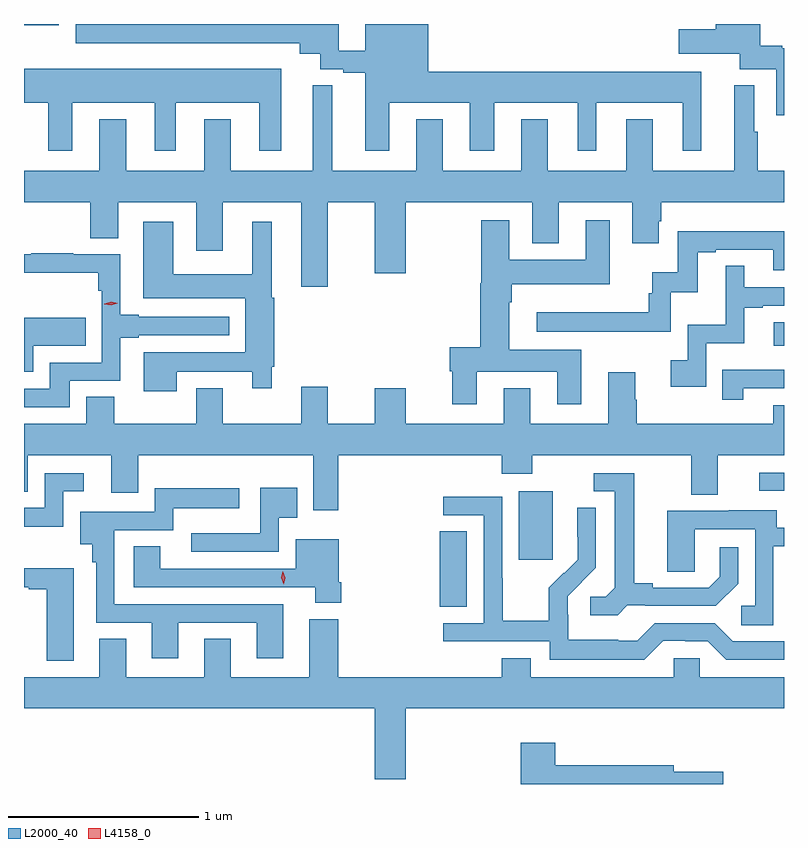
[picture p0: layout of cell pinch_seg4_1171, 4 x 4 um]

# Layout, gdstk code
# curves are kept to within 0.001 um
import gdstk
lib = gdstk.Library(unit=1e-6, precision=1e-09)
def R(c, l, rs):  # rectangles x0, y0, x1, y1
    for r in rs: c.add(gdstk.rectangle(r[:2], r[2:], *l))
def P(c, l, *ps):  # polygons
    for p in ps: c.add(gdstk.Polygon(p, *l))
L2000_40 = (2000, 40)
L4158_0 = (4158, 0)

pinch_seg4_1171 = lib.new_cell('pinch_seg4_1171')
R(pinch_seg4_1171, L2000_40, [(536.978,786.697,537.121,787.094), (537.395,786.945,537.574,787.306), (538.659,787.308,538.79,787.404), (538.737,788.072,538.79,788.194), (534.79,789.758,534.973,789.765)])
P(pinch_seg4_1171, L2000_40, [(538.79,789.637),(538.782,789.637),(538.782,789.65),(538.666,789.65),(538.666,789.765),(538.43,789.765),(538.43,789.737),(538.236,789.737),(538.236,789.608),(538.556,789.608),(538.556,789.527),(538.748,789.527),(538.748,789.285),(538.79,789.285)],
  [(536.713,789.35),(537.137,789.35),(537.137,789.099),(537.265,789.099),(537.265,789.35),(537.704,789.35),(537.704,789.099),(537.802,789.099),(537.802,789.35),(538.256,789.35),(538.256,789.099),(538.354,789.099),(538.354,789.514),(536.917,789.514),(536.917,789.765),(536.585,789.765),(536.585,789.625),(536.446,789.625),(536.446,789.765),(535.062,789.765),(535.062,789.665),(536.24,789.665),(536.24,789.608),(536.348,789.608),(536.348,789.528),(536.471,789.528),(536.471,789.508),(536.585,789.508),(536.585,789.099),(536.713,789.099)],
  [(535.045,789.35),(535.478,789.35),(535.478,789.099),(535.588,789.099),(535.588,789.35),(536.027,789.35),(536.027,789.099),(536.143,789.099),(536.143,789.529),(534.79,789.529),(534.79,789.35),(534.917,789.35),(534.917,789.099),(535.045,789.099)],
  [(536.389,788.828),(536.636,788.828),(536.636,788.454),(536.8,788.454),(536.8,788.828),(537.464,788.828),(537.464,788.61),(537.604,788.61),(537.604,788.828),(537.992,788.828),(537.992,788.61),(538.132,788.61),(538.132,788.727),(538.145,788.727),(538.145,788.828),(538.79,788.828),(538.79,788.992),(538.651,788.992),(538.651,789.197),(538.633,789.197),(538.633,789.442),(538.529,789.442),(538.529,788.992),(538.099,788.992),(538.099,789.265),(537.959,789.265),(537.959,788.992),(537.547,788.992),(537.547,789.265),(537.407,789.265),(537.407,788.992),(536.995,788.992),(536.995,789.265),(536.855,789.265),(536.855,788.992),(536.413,788.992),(536.413,789.442),(536.309,789.442),(536.309,788.992),(535.879,788.992),(535.879,789.265),(535.739,789.265),(535.739,788.992),(535.327,788.992),(535.327,789.265),(535.187,789.265),(535.187,788.992),(534.79,788.992),(534.79,788.828),(535.138,788.828),(535.138,788.638),(535.285,788.638),(535.285,788.828),(535.697,788.828),(535.697,788.571),(535.837,788.571),(535.837,788.828),(536.249,788.828),(536.249,788.382),(536.389,788.382)],
  [(537.172,787.934),(537.596,787.934),(537.596,787.764),(537.724,787.764),(537.724,788.05),(537.343,788.05),(537.343,788.3),(537.356,788.3),(537.356,788.396),(537.874,788.396),(537.874,788.731),(537.746,788.731),(537.746,788.524),(537.343,788.524),(537.343,788.731),(537.196,788.731),(537.196,788.4),(537.191,788.4),(537.191,788.063),(537.032,788.063),(537.032,787.938),(537.044,787.938),(537.044,787.764),(537.172,787.764)],
  [(535.594,787.934),(535.991,787.934),(535.991,787.848),(536.095,787.848),(536.095,787.96),(536.108,787.96),(536.108,788.325),(536.095,788.325),(536.095,788.725),(535.991,788.725),(535.991,788.449),(535.576,788.449),(535.576,788.725),(535.418,788.725),(535.418,788.321),(535.955,788.321),(535.955,788.038),(535.421,788.038),(535.421,787.832),(535.594,787.832)],
  [(538.194,788.354),(538.336,788.354),(538.336,788.565),(538.432,788.565),(538.432,788.577),(538.733,788.577),(538.733,788.469),(538.79,788.469),(538.79,788.674),(538.232,788.674),(538.232,788.458),(538.096,788.458),(538.096,788.349),(538.078,788.349),(538.078,788.248),(537.489,788.248),(537.489,788.144),(538.194,788.144)],
  [(535.03,787.887),(535.296,787.887),(535.296,788.115),(535.393,788.115),(535.393,788.127),(535.87,788.127),(535.87,788.223),(535.393,788.223),(535.393,788.236),(535.296,788.236),(535.296,788.553),(535.049,788.553),(535.049,788.558),(534.829,788.558),(534.829,788.553),(534.79,788.553),(534.79,788.455),(535.18,788.455),(535.18,788.36),(535.2,788.36),(535.2,787.983),(534.926,787.983),(534.926,787.845),(534.79,787.845),(534.79,787.749),(535.03,787.749)],
  [(538.38,788.084),(538.582,788.084),(538.582,788.271),(538.678,788.271),(538.678,788.283),(538.79,788.283),(538.79,788.379),(538.582,788.379),(538.582,788.492),(538.484,788.492),(538.484,788.182),(538.284,788.182),(538.284,787.996),(538.194,787.996),(538.194,787.856),(538.38,787.856)],
  [(534.838,788.072),(535.114,788.072),(535.114,788.218),(534.79,788.218),(534.79,787.935),(534.838,787.935)],
  [(538.576,787.848),(538.79,787.848),(538.79,787.944),(538.465,787.944),(538.465,787.788),(538.576,787.788)],
  [(536.444,787.496),(537.305,787.496),(537.305,787.397),(537.465,787.397),(537.465,787.496),(538.301,787.496),(538.301,787.288),(538.441,787.288),(538.441,787.496),(538.79,787.496),(538.79,787.759),(538.733,787.759),(538.733,787.66),(538.014,787.66),(538.014,787.788),(538.006,787.788),(538.006,787.933),(537.866,787.933),(537.866,787.66),(537.454,787.66),(537.454,787.849),(537.314,787.849),(537.314,787.66),(536.8,787.66),(536.8,787.849),(536.636,787.849),(536.636,787.66),(536.389,787.66),(536.389,787.855),(536.249,787.855),(536.249,787.66),(535.837,787.66),(535.837,787.849),(535.697,787.849),(535.697,787.66),(535.266,787.66),(535.266,787.802),(535.118,787.802),(535.118,787.66),(534.79,787.66),(534.79,787.303),(534.811,787.303),(534.811,787.496),(535.25,787.496),(535.25,787.299),(535.39,787.299),(535.39,787.496),(536.312,787.496),(536.312,787.206),(536.444,787.206)],
  [(537.966,786.705),(538.06,786.705),(538.06,786.702),(538.432,786.702),(538.548,786.818),(538.548,787.012),(538.451,787.012),(538.451,786.855),(538.394,786.798),(538.099,786.798),(538.099,786.821),(538.003,786.821),(538.003,787.401),(537.789,787.401),(537.789,787.305),(537.899,787.305),(537.899,786.797),(537.852,786.75),(537.771,786.75),(537.771,786.653),(537.914,786.653)],
  [(534.996,787.305),(535.105,787.305),(535.105,787.401),(534.9,787.401),(534.9,787.218),(534.79,787.218),(534.79,787.12),(534.996,787.12)],
  [(536.13,787.166),(536.227,787.166),(536.227,787.324),(536.034,787.324),(536.034,787.084),(535.671,787.084),(535.671,786.987),(536.13,786.987)],
  [(535.603,786.615),(536.015,786.615),(536.015,786.426),(536.155,786.426),(536.155,786.711),(535.266,786.711),(535.266,787.101),(535.575,787.101),(535.575,787.217),(535.924,787.217),(535.924,787.321),(535.479,787.321),(535.479,787.197),(535.085,787.197),(535.085,787.028),(535.15,787.028),(535.15,786.932),(535.17,786.932),(535.17,786.615),(535.463,786.615),(535.463,786.426),(535.603,786.426)],
  [(538.155,786.519),(538.271,786.519),(538.271,786.516),(538.389,786.516),(538.485,786.42),(538.79,786.42),(538.79,786.516),(538.521,786.516),(538.425,786.612),(538.11,786.612),(538.017,786.519),(537.917,786.519),(537.917,786.523),(537.654,786.523),(537.654,786.657),(537.652,786.657),(537.652,786.754),(537.798,786.902),(537.798,787.22),(537.702,787.22),(537.702,787.066),(537.704,787.066),(537.704,786.944),(537.633,786.873),(537.63,786.876),(537.553,786.799),(537.553,786.625),(537.309,786.625),(537.309,786.848),(537.306,786.848),(537.306,787.278),(536.997,787.278),(536.997,787.179),(537.21,787.179),(537.21,786.612),(536.997,786.612),(536.997,786.516),(537.558,786.516),(537.558,786.419),(538.055,786.419)],
  [(538.734,787.017),(538.79,787.017),(538.79,787.113),(538.753,787.113),(538.753,787.207),(538.499,787.207),(538.499,787.203),(538.175,787.203),(538.175,786.883),(538.32,786.883),(538.32,787.107),(538.638,787.107),(538.638,786.702),(538.566,786.702),(538.566,786.601),(538.734,786.601)],
  [(536.459,786.826),(536.446,786.826),(536.446,787.054),(536.219,787.054),(536.219,786.897),(535.507,786.897),(535.507,787.016),(535.367,787.016),(535.367,786.801),(536.324,786.801),(536.324,786.718),(536.459,786.718)],
  [(535.051,786.9),(534.79,786.9),(534.79,786.801),(534.815,786.801),(534.815,786.789),(534.911,786.789),(534.911,786.414),(535.051,786.414)],
  [(536.8,786.164),(538.79,786.164),(538.79,786.328),(538.347,786.328),(538.347,786.426),(538.209,786.426),(538.209,786.328),(537.457,786.328),(537.457,786.427),(537.305,786.427),(537.305,786.328),(536.444,786.328),(536.444,786.633),(536.291,786.633),(536.291,786.328),(535.879,786.328),(535.879,786.53),(535.739,786.53),(535.739,786.328),(535.327,786.328),(535.327,786.53),(535.187,786.53),(535.187,786.328),(534.79,786.328),(534.79,786.164),(536.636,786.164),(536.636,785.79),(536.8,785.79)],
  [(538.471,785.829),(538.21,785.829),(538.21,785.863),(537.587,785.863),(537.587,785.983),(537.404,785.983),(537.404,785.765),(538.471,785.765)])
P(pinch_seg4_1171, L4158_0, [(536.156,786.816),(536.156,786.816),(536.144,786.85),(536.153,786.886),(536.153,786.886),(536.153,786.886),(536.164,786.851),(536.156,786.816)],
  [(535.249,788.284),(535.213,788.291),(535.213,788.291),(535.213,788.292),(535.248,788.304),(535.284,788.296),(535.284,788.296),(535.284,788.296)])

lib.write_gds('pinch_seg4_1171.gds')
